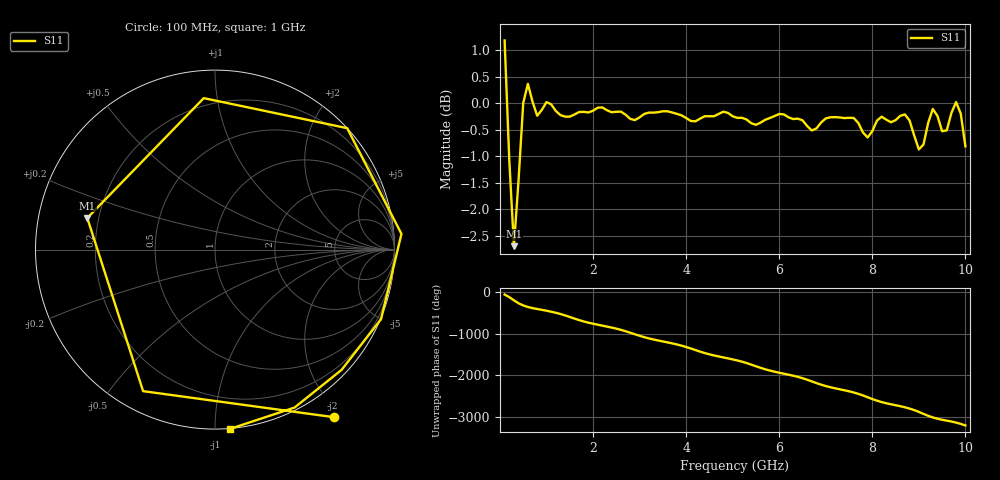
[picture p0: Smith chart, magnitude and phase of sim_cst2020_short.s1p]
! Created with skrf 1.12.0 (http://scikit-rf.org).
# Hz S RI R 50.0
!freq ReS11 ImS11
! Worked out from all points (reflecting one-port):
!   100 points, 100 MHz to 10 GHz, reference 50 ohm
!   lowest |S11| = -2.7 dB at 300 MHz (marker M1), VSWR 6.49, Z = 7.82 + j5.95 ohm
!   phase of S11 starts at -55 deg and turns -3161 deg over the sweep
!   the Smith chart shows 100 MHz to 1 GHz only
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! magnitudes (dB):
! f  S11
! 100 MHz  1.2
! 200 MHz  -1.1
! 300 MHz  -2.7
! 500 MHz  0.0
! 600 MHz  0.4
! 800 MHz  -0.2
! 1 GHz  0.0
! 1.4 GHz  -0.3
! 2.6 GHz  -0.2
! 2.9 GHz  -0.3
! 3.9 GHz  -0.2
! 5.1 GHz  -0.3
! 5.5 GHz  -0.4
! 6.3 GHz  -0.3
! 6.7 GHz  -0.5
! 7 GHz  -0.3
! 7.6 GHz  -0.3
! 7.9 GHz  -0.6
! 8.2 GHz  -0.3
! 8.8 GHz  -0.3
! 9 GHz  -0.9
! 9.1 GHz  -0.8
! 9.3 GHz  -0.1
! 9.5 GHz  -0.5
! 9.6 GHz  -0.5
! 9.8 GHz  0.0
! 9.9 GHz  -0.2
! 10 GHz  -0.8
